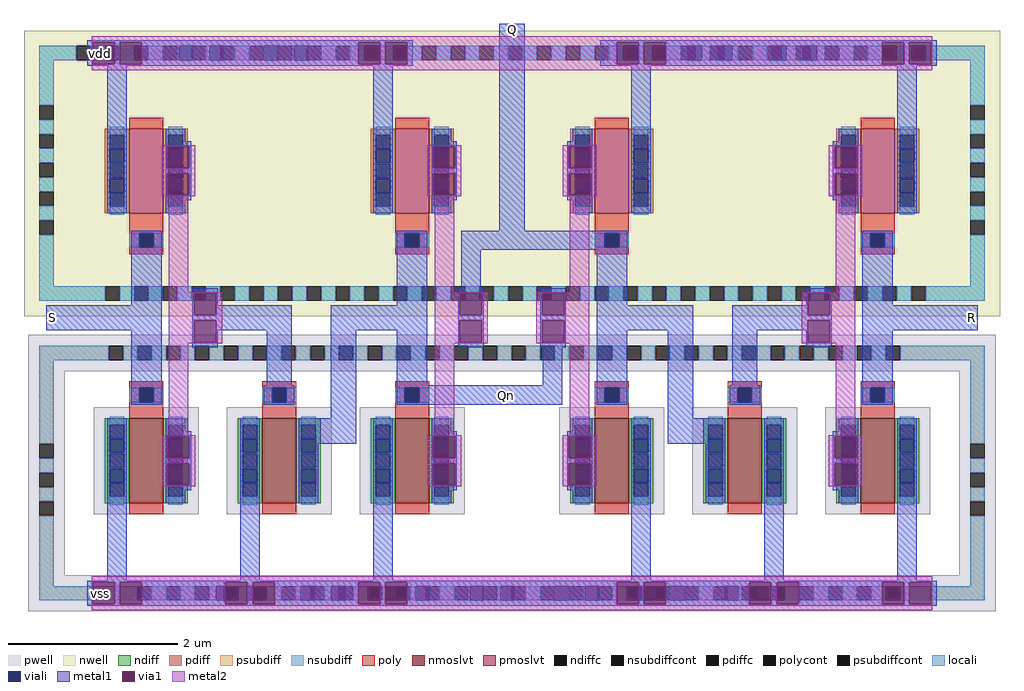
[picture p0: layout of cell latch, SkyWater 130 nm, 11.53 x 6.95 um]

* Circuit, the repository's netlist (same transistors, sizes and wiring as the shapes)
** sch_path: /media/psf/Home/EDA/SAR_IPN/xschem/sar/latch/latch.sch
.subckt latch S R vss vdd Q Qn
.ipin S
.ipin R
.iopin vss
.iopin vdd
.opin Q
.opin Qn
x1 vdd Qn Q vss inv_lvt
x2 vdd Q Qn vss inv_lvt
x3 vdd R net2 vss inv_lvt
x4 vdd S net1 vss inv_lvt
XM4 Q net2 vss vss sky130_fd_pr__nfet_01v8_lvt L=0.4 W=1 nf=1 ad='int((nf+1)/2) * W/nf * 0.29' as='int((nf+2)/2) * W/nf * 0.29'
+ pd='2*int((nf+1)/2) * (W/nf + 0.29)' ps='2*int((nf+2)/2) * (W/nf + 0.29)' nrd='0.29 / W' nrs='0.29 / W'
+ sa=0 sb=0 sd=0 mult=1 m=1
XM1 Qn net1 vss vss sky130_fd_pr__nfet_01v8_lvt L=0.4 W=1 nf=1 ad='int((nf+1)/2) * W/nf * 0.29' as='int((nf+2)/2) * W/nf * 0.29'
+ pd='2*int((nf+1)/2) * (W/nf + 0.29)' ps='2*int((nf+2)/2) * (W/nf + 0.29)' nrd='0.29 / W' nrs='0.29 / W'
+ sa=0 sb=0 sd=0 mult=1 m=1
.ends

* expanding   symbol:  logic/inv_lvt.sym # of pins=4
** sym_path: /media/psf/Home/EDA/SAR_IPN/xschem/logic/inv_lvt.sym
** sch_path: /media/psf/Home/EDA/SAR_IPN/xschem/logic/inv_lvt.sch
.subckt inv_lvt vdd in out vss
*.iopin vdd
*.iopin vss
*.ipin in
*.opin out
XM3 out in vss vss sky130_fd_pr__nfet_01v8_lvt L=0.4 W=1 nf=1 ad='int((nf+1)/2) * W/nf * 0.29' as='int((nf+2)/2) * W/nf * 0.29'
+ pd='2*int((nf+1)/2) * (W/nf + 0.29)' ps='2*int((nf+2)/2) * (W/nf + 0.29)' nrd='0.29 / W' nrs='0.29 / W'
+ sa=0 sb=0 sd=0 mult=1 m=1
XM1 out in vdd vdd sky130_fd_pr__pfet_01v8_lvt L=0.4 W=1 nf=1 ad='int((nf+1)/2) * W/nf * 0.29' as='int((nf+2)/2) * W/nf * 0.29'
+ pd='2*int((nf+1)/2) * (W/nf + 0.29)' ps='2*int((nf+2)/2) * (W/nf + 0.29)' nrd='0.29 / W' nrs='0.29 / W'
+ sa=0 sb=0 sd=0 mult=1 m=1
.ends

.end

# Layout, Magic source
magic
tech sky130B
magscale 1 2
<< nwell >>
rect 0 657 2306 1331
<< pwell >>
rect 10 527 2296 613
rect 10 45 96 527
rect 165 189 413 441
rect 479 189 727 441
rect 793 189 1041 441
rect 1265 189 1513 441
rect 1579 189 1827 441
rect 1893 189 2141 441
rect 2210 45 2296 527
rect 10 -41 2296 45
<< pmoslvt >>
rect 249 900 329 1100
rect 877 900 957 1100
rect 1349 900 1429 1100
rect 1977 900 2057 1100
<< nmoslvt >>
rect 249 215 329 415
rect 563 215 643 415
rect 877 215 957 415
rect 1349 215 1429 415
rect 1663 215 1743 415
rect 1977 215 2057 415
<< ndiff >>
rect 191 400 249 415
rect 191 366 203 400
rect 237 366 249 400
rect 191 332 249 366
rect 191 298 203 332
rect 237 298 249 332
rect 191 264 249 298
rect 191 230 203 264
rect 237 230 249 264
rect 191 215 249 230
rect 329 400 387 415
rect 329 366 341 400
rect 375 366 387 400
rect 329 332 387 366
rect 329 298 341 332
rect 375 298 387 332
rect 329 264 387 298
rect 329 230 341 264
rect 375 230 387 264
rect 329 215 387 230
rect 505 400 563 415
rect 505 366 517 400
rect 551 366 563 400
rect 505 332 563 366
rect 505 298 517 332
rect 551 298 563 332
rect 505 264 563 298
rect 505 230 517 264
rect 551 230 563 264
rect 505 215 563 230
rect 643 400 701 415
rect 643 366 655 400
rect 689 366 701 400
rect 643 332 701 366
rect 643 298 655 332
rect 689 298 701 332
rect 643 264 701 298
rect 643 230 655 264
rect 689 230 701 264
rect 643 215 701 230
rect 819 400 877 415
rect 819 366 831 400
rect 865 366 877 400
rect 819 332 877 366
rect 819 298 831 332
rect 865 298 877 332
rect 819 264 877 298
rect 819 230 831 264
rect 865 230 877 264
rect 819 215 877 230
rect 957 400 1015 415
rect 957 366 969 400
rect 1003 366 1015 400
rect 957 332 1015 366
rect 957 298 969 332
rect 1003 298 1015 332
rect 957 264 1015 298
rect 957 230 969 264
rect 1003 230 1015 264
rect 957 215 1015 230
rect 1291 400 1349 415
rect 1291 366 1303 400
rect 1337 366 1349 400
rect 1291 332 1349 366
rect 1291 298 1303 332
rect 1337 298 1349 332
rect 1291 264 1349 298
rect 1291 230 1303 264
rect 1337 230 1349 264
rect 1291 215 1349 230
rect 1429 400 1487 415
rect 1429 366 1441 400
rect 1475 366 1487 400
rect 1429 332 1487 366
rect 1429 298 1441 332
rect 1475 298 1487 332
rect 1429 264 1487 298
rect 1429 230 1441 264
rect 1475 230 1487 264
rect 1429 215 1487 230
rect 1605 400 1663 415
rect 1605 366 1617 400
rect 1651 366 1663 400
rect 1605 332 1663 366
rect 1605 298 1617 332
rect 1651 298 1663 332
rect 1605 264 1663 298
rect 1605 230 1617 264
rect 1651 230 1663 264
rect 1605 215 1663 230
rect 1743 400 1801 415
rect 1743 366 1755 400
rect 1789 366 1801 400
rect 1743 332 1801 366
rect 1743 298 1755 332
rect 1789 298 1801 332
rect 1743 264 1801 298
rect 1743 230 1755 264
rect 1789 230 1801 264
rect 1743 215 1801 230
rect 1919 400 1977 415
rect 1919 366 1931 400
rect 1965 366 1977 400
rect 1919 332 1977 366
rect 1919 298 1931 332
rect 1965 298 1977 332
rect 1919 264 1977 298
rect 1919 230 1931 264
rect 1965 230 1977 264
rect 1919 215 1977 230
rect 2057 400 2115 415
rect 2057 366 2069 400
rect 2103 366 2115 400
rect 2057 332 2115 366
rect 2057 298 2069 332
rect 2103 298 2115 332
rect 2057 264 2115 298
rect 2057 230 2069 264
rect 2103 230 2115 264
rect 2057 215 2115 230
<< pdiff >>
rect 191 1085 249 1100
rect 191 1051 203 1085
rect 237 1051 249 1085
rect 191 1017 249 1051
rect 191 983 203 1017
rect 237 983 249 1017
rect 191 949 249 983
rect 191 915 203 949
rect 237 915 249 949
rect 191 900 249 915
rect 329 1085 387 1100
rect 329 1051 341 1085
rect 375 1051 387 1085
rect 329 1017 387 1051
rect 329 983 341 1017
rect 375 983 387 1017
rect 329 949 387 983
rect 329 915 341 949
rect 375 915 387 949
rect 329 900 387 915
rect 819 1085 877 1100
rect 819 1051 831 1085
rect 865 1051 877 1085
rect 819 1017 877 1051
rect 819 983 831 1017
rect 865 983 877 1017
rect 819 949 877 983
rect 819 915 831 949
rect 865 915 877 949
rect 819 900 877 915
rect 957 1085 1015 1100
rect 957 1051 969 1085
rect 1003 1051 1015 1085
rect 957 1017 1015 1051
rect 957 983 969 1017
rect 1003 983 1015 1017
rect 957 949 1015 983
rect 957 915 969 949
rect 1003 915 1015 949
rect 957 900 1015 915
rect 1291 1085 1349 1100
rect 1291 1051 1303 1085
rect 1337 1051 1349 1085
rect 1291 1017 1349 1051
rect 1291 983 1303 1017
rect 1337 983 1349 1017
rect 1291 949 1349 983
rect 1291 915 1303 949
rect 1337 915 1349 949
rect 1291 900 1349 915
rect 1429 1085 1487 1100
rect 1429 1051 1441 1085
rect 1475 1051 1487 1085
rect 1429 1017 1487 1051
rect 1429 983 1441 1017
rect 1475 983 1487 1017
rect 1429 949 1487 983
rect 1429 915 1441 949
rect 1475 915 1487 949
rect 1429 900 1487 915
rect 1919 1085 1977 1100
rect 1919 1051 1931 1085
rect 1965 1051 1977 1085
rect 1919 1017 1977 1051
rect 1919 983 1931 1017
rect 1965 983 1977 1017
rect 1919 949 1977 983
rect 1919 915 1931 949
rect 1965 915 1977 949
rect 1919 900 1977 915
rect 2057 1085 2115 1100
rect 2057 1051 2069 1085
rect 2103 1051 2115 1085
rect 2057 1017 2115 1051
rect 2057 983 2069 1017
rect 2103 983 2115 1017
rect 2057 949 2115 983
rect 2057 915 2069 949
rect 2103 915 2115 949
rect 2057 900 2115 915
<< ndiffc >>
rect 203 366 237 400
rect 203 298 237 332
rect 203 230 237 264
rect 341 366 375 400
rect 341 298 375 332
rect 341 230 375 264
rect 517 366 551 400
rect 517 298 551 332
rect 517 230 551 264
rect 655 366 689 400
rect 655 298 689 332
rect 655 230 689 264
rect 831 366 865 400
rect 831 298 865 332
rect 831 230 865 264
rect 969 366 1003 400
rect 969 298 1003 332
rect 969 230 1003 264
rect 1303 366 1337 400
rect 1303 298 1337 332
rect 1303 230 1337 264
rect 1441 366 1475 400
rect 1441 298 1475 332
rect 1441 230 1475 264
rect 1617 366 1651 400
rect 1617 298 1651 332
rect 1617 230 1651 264
rect 1755 366 1789 400
rect 1755 298 1789 332
rect 1755 230 1789 264
rect 1931 366 1965 400
rect 1931 298 1965 332
rect 1931 230 1965 264
rect 2069 366 2103 400
rect 2069 298 2103 332
rect 2069 230 2103 264
<< pdiffc >>
rect 203 1051 237 1085
rect 203 983 237 1017
rect 203 915 237 949
rect 341 1051 375 1085
rect 341 983 375 1017
rect 341 915 375 949
rect 831 1051 865 1085
rect 831 983 865 1017
rect 831 915 865 949
rect 969 1051 1003 1085
rect 969 983 1003 1017
rect 969 915 1003 949
rect 1303 1051 1337 1085
rect 1303 983 1337 1017
rect 1303 915 1337 949
rect 1441 1051 1475 1085
rect 1441 983 1475 1017
rect 1441 915 1475 949
rect 1931 1051 1965 1085
rect 1931 983 1965 1017
rect 1931 915 1965 949
rect 2069 1051 2103 1085
rect 2069 983 2103 1017
rect 2069 915 2103 949
<< psubdiff >>
rect 36 553 200 587
rect 234 553 268 587
rect 302 553 336 587
rect 370 553 404 587
rect 438 553 472 587
rect 506 553 540 587
rect 574 553 608 587
rect 642 553 676 587
rect 710 553 744 587
rect 778 553 812 587
rect 846 553 880 587
rect 914 553 948 587
rect 982 553 1016 587
rect 1050 553 1084 587
rect 1118 553 1152 587
rect 1186 553 1220 587
rect 1254 553 1288 587
rect 1322 553 1356 587
rect 1390 553 1424 587
rect 1458 553 1492 587
rect 1526 553 1560 587
rect 1594 553 1628 587
rect 1662 553 1696 587
rect 1730 553 1764 587
rect 1798 553 1832 587
rect 1866 553 1900 587
rect 1934 553 1968 587
rect 2002 553 2036 587
rect 2070 553 2270 587
rect 36 355 70 553
rect 36 287 70 321
rect 36 219 70 253
rect 2236 355 2270 553
rect 2236 287 2270 321
rect 2236 219 2270 253
rect 36 19 70 185
rect 2236 19 2270 185
rect 36 -15 268 19
rect 302 -15 336 19
rect 370 -15 404 19
rect 438 -15 472 19
rect 506 -15 540 19
rect 574 -15 608 19
rect 642 -15 676 19
rect 710 -15 744 19
rect 778 -15 812 19
rect 846 -15 880 19
rect 914 -15 948 19
rect 982 -15 1016 19
rect 1050 -15 1084 19
rect 1118 -15 1152 19
rect 1186 -15 1220 19
rect 1254 -15 1288 19
rect 1322 -15 1356 19
rect 1390 -15 1424 19
rect 1458 -15 1492 19
rect 1526 -15 1560 19
rect 1594 -15 1628 19
rect 1662 -15 1696 19
rect 1730 -15 1764 19
rect 1798 -15 1832 19
rect 1866 -15 1900 19
rect 1934 -15 1968 19
rect 2002 -15 2036 19
rect 2070 -15 2270 19
<< nsubdiff >>
rect 36 1261 124 1295
rect 158 1261 192 1295
rect 226 1261 260 1295
rect 294 1261 328 1295
rect 362 1261 396 1295
rect 430 1261 464 1295
rect 498 1261 532 1295
rect 566 1261 600 1295
rect 634 1261 668 1295
rect 702 1261 736 1295
rect 770 1261 804 1295
rect 838 1261 872 1295
rect 906 1261 940 1295
rect 974 1261 1008 1295
rect 1042 1261 1076 1295
rect 1110 1261 1144 1295
rect 1178 1261 1212 1295
rect 1246 1261 1280 1295
rect 1314 1261 1348 1295
rect 1382 1261 1416 1295
rect 1450 1261 1484 1295
rect 1518 1261 1552 1295
rect 1586 1261 1620 1295
rect 1654 1261 1688 1295
rect 1722 1261 1756 1295
rect 1790 1261 1824 1295
rect 1858 1261 1892 1295
rect 1926 1261 1960 1295
rect 1994 1261 2028 1295
rect 2062 1261 2096 1295
rect 2130 1261 2270 1295
rect 36 1155 70 1261
rect 2236 1155 2270 1261
rect 36 1087 70 1121
rect 36 1019 70 1053
rect 36 951 70 985
rect 36 883 70 917
rect 2236 1087 2270 1121
rect 2236 1019 2270 1053
rect 2236 951 2270 985
rect 36 727 70 849
rect 2236 883 2270 917
rect 2236 727 2270 849
rect 36 693 192 727
rect 226 693 260 727
rect 294 693 328 727
rect 362 693 396 727
rect 430 693 464 727
rect 498 693 532 727
rect 566 693 600 727
rect 634 693 668 727
rect 702 693 736 727
rect 770 693 804 727
rect 838 693 872 727
rect 906 693 940 727
rect 974 693 1008 727
rect 1042 693 1076 727
rect 1110 693 1144 727
rect 1178 693 1212 727
rect 1246 693 1280 727
rect 1314 693 1348 727
rect 1382 693 1416 727
rect 1450 693 1484 727
rect 1518 693 1552 727
rect 1586 693 1620 727
rect 1654 693 1688 727
rect 1722 693 1756 727
rect 1790 693 1824 727
rect 1858 693 1892 727
rect 1926 693 1960 727
rect 1994 693 2028 727
rect 2062 693 2096 727
rect 2130 693 2270 727
<< psubdiffcont >>
rect 200 553 234 587
rect 268 553 302 587
rect 336 553 370 587
rect 404 553 438 587
rect 472 553 506 587
rect 540 553 574 587
rect 608 553 642 587
rect 676 553 710 587
rect 744 553 778 587
rect 812 553 846 587
rect 880 553 914 587
rect 948 553 982 587
rect 1016 553 1050 587
rect 1084 553 1118 587
rect 1152 553 1186 587
rect 1220 553 1254 587
rect 1288 553 1322 587
rect 1356 553 1390 587
rect 1424 553 1458 587
rect 1492 553 1526 587
rect 1560 553 1594 587
rect 1628 553 1662 587
rect 1696 553 1730 587
rect 1764 553 1798 587
rect 1832 553 1866 587
rect 1900 553 1934 587
rect 1968 553 2002 587
rect 2036 553 2070 587
rect 36 321 70 355
rect 36 253 70 287
rect 36 185 70 219
rect 2236 321 2270 355
rect 2236 253 2270 287
rect 2236 185 2270 219
rect 268 -15 302 19
rect 336 -15 370 19
rect 404 -15 438 19
rect 472 -15 506 19
rect 540 -15 574 19
rect 608 -15 642 19
rect 676 -15 710 19
rect 744 -15 778 19
rect 812 -15 846 19
rect 880 -15 914 19
rect 948 -15 982 19
rect 1016 -15 1050 19
rect 1084 -15 1118 19
rect 1152 -15 1186 19
rect 1220 -15 1254 19
rect 1288 -15 1322 19
rect 1356 -15 1390 19
rect 1424 -15 1458 19
rect 1492 -15 1526 19
rect 1560 -15 1594 19
rect 1628 -15 1662 19
rect 1696 -15 1730 19
rect 1764 -15 1798 19
rect 1832 -15 1866 19
rect 1900 -15 1934 19
rect 1968 -15 2002 19
rect 2036 -15 2070 19
<< nsubdiffcont >>
rect 124 1261 158 1295
rect 192 1261 226 1295
rect 260 1261 294 1295
rect 328 1261 362 1295
rect 396 1261 430 1295
rect 464 1261 498 1295
rect 532 1261 566 1295
rect 600 1261 634 1295
rect 668 1261 702 1295
rect 736 1261 770 1295
rect 804 1261 838 1295
rect 872 1261 906 1295
rect 940 1261 974 1295
rect 1008 1261 1042 1295
rect 1076 1261 1110 1295
rect 1144 1261 1178 1295
rect 1212 1261 1246 1295
rect 1280 1261 1314 1295
rect 1348 1261 1382 1295
rect 1416 1261 1450 1295
rect 1484 1261 1518 1295
rect 1552 1261 1586 1295
rect 1620 1261 1654 1295
rect 1688 1261 1722 1295
rect 1756 1261 1790 1295
rect 1824 1261 1858 1295
rect 1892 1261 1926 1295
rect 1960 1261 1994 1295
rect 2028 1261 2062 1295
rect 2096 1261 2130 1295
rect 36 1121 70 1155
rect 2236 1121 2270 1155
rect 36 1053 70 1087
rect 36 985 70 1019
rect 36 917 70 951
rect 2236 1053 2270 1087
rect 2236 985 2270 1019
rect 2236 917 2270 951
rect 36 849 70 883
rect 2236 849 2270 883
rect 192 693 226 727
rect 260 693 294 727
rect 328 693 362 727
rect 396 693 430 727
rect 464 693 498 727
rect 532 693 566 727
rect 600 693 634 727
rect 668 693 702 727
rect 736 693 770 727
rect 804 693 838 727
rect 872 693 906 727
rect 940 693 974 727
rect 1008 693 1042 727
rect 1076 693 1110 727
rect 1144 693 1178 727
rect 1212 693 1246 727
rect 1280 693 1314 727
rect 1348 693 1382 727
rect 1416 693 1450 727
rect 1484 693 1518 727
rect 1552 693 1586 727
rect 1620 693 1654 727
rect 1688 693 1722 727
rect 1756 693 1790 727
rect 1824 693 1858 727
rect 1892 693 1926 727
rect 1960 693 1994 727
rect 2028 693 2062 727
rect 2096 693 2130 727
<< poly >>
rect 249 1100 329 1126
rect 877 1100 957 1126
rect 1349 1100 1429 1126
rect 1977 1100 2057 1126
rect 249 853 329 900
rect 249 819 272 853
rect 306 819 329 853
rect 249 803 329 819
rect 877 853 957 900
rect 877 819 900 853
rect 934 819 957 853
rect 877 803 957 819
rect 1349 853 1429 900
rect 1349 819 1372 853
rect 1406 819 1429 853
rect 1349 803 1429 819
rect 1977 853 2057 900
rect 1977 819 2000 853
rect 2034 819 2057 853
rect 1977 803 2057 819
rect 249 487 329 503
rect 249 453 272 487
rect 306 453 329 487
rect 249 415 329 453
rect 563 487 643 503
rect 563 453 586 487
rect 620 453 643 487
rect 563 415 643 453
rect 877 487 957 503
rect 877 453 900 487
rect 934 453 957 487
rect 877 415 957 453
rect 1349 487 1429 503
rect 1349 453 1372 487
rect 1406 453 1429 487
rect 1349 415 1429 453
rect 1663 487 1743 503
rect 1663 453 1686 487
rect 1720 453 1743 487
rect 1663 415 1743 453
rect 1977 487 2057 503
rect 1977 453 2000 487
rect 2034 453 2057 487
rect 1977 415 2057 453
rect 249 189 329 215
rect 563 189 643 215
rect 877 189 957 215
rect 1349 189 1429 215
rect 1663 189 1743 215
rect 1977 189 2057 215
<< polycont >>
rect 272 819 306 853
rect 900 819 934 853
rect 1372 819 1406 853
rect 2000 819 2034 853
rect 272 453 306 487
rect 586 453 620 487
rect 900 453 934 487
rect 1372 453 1406 487
rect 1686 453 1720 487
rect 2000 453 2034 487
<< locali >>
rect 36 1261 124 1295
rect 158 1261 192 1295
rect 226 1261 260 1295
rect 294 1261 328 1295
rect 362 1261 367 1295
rect 430 1261 439 1295
rect 498 1261 532 1295
rect 566 1261 567 1295
rect 634 1261 639 1295
rect 702 1261 736 1295
rect 770 1261 804 1295
rect 838 1261 872 1295
rect 906 1261 940 1295
rect 974 1261 1008 1295
rect 1042 1261 1076 1295
rect 1110 1261 1144 1295
rect 1178 1261 1212 1295
rect 1246 1261 1280 1295
rect 1314 1261 1348 1295
rect 1382 1261 1416 1295
rect 1450 1261 1484 1295
rect 1518 1261 1552 1295
rect 1601 1261 1620 1295
rect 1673 1261 1688 1295
rect 1722 1261 1756 1295
rect 1801 1261 1824 1295
rect 1873 1261 1892 1295
rect 1926 1261 1960 1295
rect 1994 1261 2028 1295
rect 2062 1261 2096 1295
rect 2130 1261 2270 1295
rect 36 1155 70 1261
rect 36 1087 70 1121
rect 2236 1155 2270 1261
rect 36 1019 70 1053
rect 36 951 70 985
rect 36 883 70 917
rect 203 1085 237 1104
rect 203 1017 237 1019
rect 203 981 237 983
rect 203 896 237 915
rect 341 1085 375 1104
rect 341 1017 375 1019
rect 341 981 375 983
rect 341 896 375 915
rect 831 1085 865 1104
rect 831 1017 865 1019
rect 831 981 865 983
rect 831 896 865 915
rect 969 1085 1003 1104
rect 969 1017 1003 1019
rect 969 981 1003 983
rect 969 896 1003 915
rect 1303 1085 1337 1104
rect 1303 1017 1337 1019
rect 1303 981 1337 983
rect 1303 896 1337 915
rect 1441 1085 1475 1104
rect 1441 1017 1475 1019
rect 1441 981 1475 983
rect 1441 896 1475 915
rect 1931 1085 1965 1104
rect 1931 1017 1965 1019
rect 1931 981 1965 983
rect 1931 896 1965 915
rect 2069 1085 2103 1104
rect 2069 1017 2103 1019
rect 2069 981 2103 983
rect 2069 896 2103 915
rect 2236 1087 2270 1121
rect 2236 1019 2270 1053
rect 2236 951 2270 985
rect 2236 883 2270 917
rect 36 727 70 849
rect 249 819 272 853
rect 306 819 329 853
rect 877 819 900 853
rect 934 819 957 853
rect 1349 819 1372 853
rect 1406 819 1429 853
rect 1977 819 2000 853
rect 2034 819 2057 853
rect 2236 727 2270 849
rect 36 693 192 727
rect 226 693 260 727
rect 294 693 328 727
rect 362 693 396 727
rect 430 693 464 727
rect 498 693 532 727
rect 566 693 600 727
rect 634 693 668 727
rect 702 693 736 727
rect 770 693 804 727
rect 838 693 872 727
rect 906 693 940 727
rect 974 693 1008 727
rect 1042 693 1076 727
rect 1110 693 1144 727
rect 1178 693 1212 727
rect 1246 693 1280 727
rect 1314 693 1348 727
rect 1382 693 1416 727
rect 1450 693 1484 727
rect 1518 693 1552 727
rect 1586 693 1620 727
rect 1654 693 1688 727
rect 1722 693 1756 727
rect 1790 693 1824 727
rect 1858 693 1892 727
rect 1926 693 1960 727
rect 1994 693 2028 727
rect 2062 693 2096 727
rect 2130 693 2270 727
rect 36 553 200 587
rect 234 553 268 587
rect 302 553 336 587
rect 370 553 404 587
rect 438 553 472 587
rect 506 553 540 587
rect 574 553 608 587
rect 642 553 676 587
rect 710 553 744 587
rect 778 553 812 587
rect 846 553 880 587
rect 914 553 948 587
rect 982 553 1016 587
rect 1050 553 1084 587
rect 1118 553 1152 587
rect 1186 553 1220 587
rect 1254 553 1288 587
rect 1322 553 1356 587
rect 1390 553 1424 587
rect 1458 553 1492 587
rect 1526 553 1560 587
rect 1594 553 1628 587
rect 1662 553 1696 587
rect 1730 553 1764 587
rect 1798 553 1832 587
rect 1866 553 1900 587
rect 1934 553 1968 587
rect 2002 553 2036 587
rect 2070 553 2270 587
rect 36 355 70 553
rect 249 453 272 487
rect 306 453 329 487
rect 563 453 586 487
rect 620 453 643 487
rect 877 453 900 487
rect 934 453 957 487
rect 1349 453 1372 487
rect 1406 453 1429 487
rect 1663 453 1686 487
rect 1720 453 1743 487
rect 1977 453 2000 487
rect 2034 453 2057 487
rect 36 287 70 321
rect 36 219 70 253
rect 203 400 237 419
rect 203 332 237 334
rect 203 296 237 298
rect 203 211 237 230
rect 341 400 375 419
rect 341 332 375 334
rect 341 296 375 298
rect 341 211 375 230
rect 517 400 551 419
rect 517 332 551 334
rect 517 296 551 298
rect 517 211 551 230
rect 655 400 689 419
rect 655 332 689 334
rect 655 296 689 298
rect 655 211 689 230
rect 831 400 865 419
rect 831 332 865 334
rect 831 296 865 298
rect 831 211 865 230
rect 969 400 1003 419
rect 969 332 1003 334
rect 969 296 1003 298
rect 969 211 1003 230
rect 1303 400 1337 419
rect 1303 332 1337 334
rect 1303 296 1337 298
rect 1303 211 1337 230
rect 1441 400 1475 419
rect 1441 332 1475 334
rect 1441 296 1475 298
rect 1441 211 1475 230
rect 1617 400 1651 419
rect 1617 332 1651 334
rect 1617 296 1651 298
rect 1617 211 1651 230
rect 1755 400 1789 419
rect 1755 332 1789 334
rect 1755 296 1789 298
rect 1755 211 1789 230
rect 1931 400 1965 419
rect 1931 332 1965 334
rect 1931 296 1965 298
rect 1931 211 1965 230
rect 2069 400 2103 419
rect 2069 332 2103 334
rect 2069 296 2103 298
rect 2069 211 2103 230
rect 2236 355 2270 553
rect 2236 287 2270 321
rect 2236 219 2270 253
rect 36 19 70 185
rect 2236 19 2270 185
rect 36 -15 268 19
rect 302 -15 336 19
rect 370 -15 404 19
rect 438 -15 454 19
rect 506 -15 526 19
rect 574 -15 608 19
rect 642 -15 654 19
rect 710 -15 726 19
rect 778 -15 812 19
rect 846 -15 854 19
rect 914 -15 926 19
rect 982 -15 1016 19
rect 1050 -15 1054 19
rect 1118 -15 1126 19
rect 1186 -15 1220 19
rect 1322 -15 1326 19
rect 1390 -15 1424 19
rect 1488 -15 1492 19
rect 1594 -15 1628 19
rect 1688 -15 1696 19
rect 1760 -15 1764 19
rect 1798 -15 1832 19
rect 1866 -15 1900 19
rect 1934 -15 1968 19
rect 2002 -15 2036 19
rect 2070 -15 2270 19
<< viali >>
rect 367 1261 396 1295
rect 396 1261 401 1295
rect 439 1261 464 1295
rect 464 1261 473 1295
rect 567 1261 600 1295
rect 600 1261 601 1295
rect 639 1261 668 1295
rect 668 1261 673 1295
rect 1567 1261 1586 1295
rect 1586 1261 1601 1295
rect 1639 1261 1654 1295
rect 1654 1261 1673 1295
rect 1767 1261 1790 1295
rect 1790 1261 1801 1295
rect 1839 1261 1858 1295
rect 1858 1261 1873 1295
rect 203 1051 237 1053
rect 203 1019 237 1051
rect 203 949 237 981
rect 203 947 237 949
rect 341 1051 375 1053
rect 341 1019 375 1051
rect 341 949 375 981
rect 341 947 375 949
rect 831 1051 865 1053
rect 831 1019 865 1051
rect 831 949 865 981
rect 831 947 865 949
rect 969 1051 1003 1053
rect 969 1019 1003 1051
rect 969 949 1003 981
rect 969 947 1003 949
rect 1303 1051 1337 1053
rect 1303 1019 1337 1051
rect 1303 949 1337 981
rect 1303 947 1337 949
rect 1441 1051 1475 1053
rect 1441 1019 1475 1051
rect 1441 949 1475 981
rect 1441 947 1475 949
rect 1931 1051 1965 1053
rect 1931 1019 1965 1051
rect 1931 949 1965 981
rect 1931 947 1965 949
rect 2069 1051 2103 1053
rect 2069 1019 2103 1051
rect 2069 949 2103 981
rect 2069 947 2103 949
rect 272 819 306 853
rect 900 819 934 853
rect 1372 819 1406 853
rect 2000 819 2034 853
rect 272 453 306 487
rect 586 453 620 487
rect 900 453 934 487
rect 1372 453 1406 487
rect 1686 453 1720 487
rect 2000 453 2034 487
rect 203 366 237 368
rect 203 334 237 366
rect 203 264 237 296
rect 203 262 237 264
rect 341 366 375 368
rect 341 334 375 366
rect 341 264 375 296
rect 341 262 375 264
rect 517 366 551 368
rect 517 334 551 366
rect 517 264 551 296
rect 517 262 551 264
rect 655 366 689 368
rect 655 334 689 366
rect 655 264 689 296
rect 655 262 689 264
rect 831 366 865 368
rect 831 334 865 366
rect 831 264 865 296
rect 831 262 865 264
rect 969 366 1003 368
rect 969 334 1003 366
rect 969 264 1003 296
rect 969 262 1003 264
rect 1303 366 1337 368
rect 1303 334 1337 366
rect 1303 264 1337 296
rect 1303 262 1337 264
rect 1441 366 1475 368
rect 1441 334 1475 366
rect 1441 264 1475 296
rect 1441 262 1475 264
rect 1617 366 1651 368
rect 1617 334 1651 366
rect 1617 264 1651 296
rect 1617 262 1651 264
rect 1755 366 1789 368
rect 1755 334 1789 366
rect 1755 264 1789 296
rect 1755 262 1789 264
rect 1931 366 1965 368
rect 1931 334 1965 366
rect 1931 264 1965 296
rect 1931 262 1965 264
rect 2069 366 2103 368
rect 2069 334 2103 366
rect 2069 264 2103 296
rect 2069 262 2103 264
rect 454 -15 472 19
rect 472 -15 488 19
rect 526 -15 540 19
rect 540 -15 560 19
rect 654 -15 676 19
rect 676 -15 688 19
rect 726 -15 744 19
rect 744 -15 760 19
rect 854 -15 880 19
rect 880 -15 888 19
rect 926 -15 948 19
rect 948 -15 960 19
rect 1054 -15 1084 19
rect 1084 -15 1088 19
rect 1126 -15 1152 19
rect 1152 -15 1160 19
rect 1254 -15 1288 19
rect 1326 -15 1356 19
rect 1356 -15 1360 19
rect 1454 -15 1458 19
rect 1458 -15 1488 19
rect 1526 -15 1560 19
rect 1654 -15 1662 19
rect 1662 -15 1688 19
rect 1726 -15 1730 19
rect 1730 -15 1760 19
<< metal1 >>
rect 150 1304 918 1308
rect 150 1252 162 1304
rect 214 1252 226 1304
rect 278 1295 790 1304
rect 278 1261 367 1295
rect 401 1261 439 1295
rect 473 1261 567 1295
rect 601 1261 639 1295
rect 673 1261 790 1295
rect 278 1252 790 1261
rect 842 1252 854 1304
rect 906 1252 918 1304
rect 150 1248 918 1252
rect 197 1053 243 1248
rect 197 1019 203 1053
rect 237 1019 243 1053
rect 197 981 243 1019
rect 197 947 203 981
rect 237 947 243 981
rect 197 900 243 947
rect 335 1070 381 1100
rect 335 1058 395 1070
rect 335 1006 339 1058
rect 391 1006 395 1058
rect 335 994 395 1006
rect 335 942 339 994
rect 391 942 395 994
rect 335 930 395 942
rect 825 1053 871 1248
rect 825 1019 831 1053
rect 865 1019 871 1053
rect 825 981 871 1019
rect 825 947 831 981
rect 865 947 871 981
rect 335 900 381 930
rect 825 900 871 947
rect 963 1070 1009 1100
rect 963 1058 1023 1070
rect 963 1006 967 1058
rect 1019 1006 1023 1058
rect 963 994 1023 1006
rect 963 942 967 994
rect 1019 942 1023 994
rect 963 930 1023 942
rect 963 900 1009 930
rect 1123 859 1183 1348
rect 1361 1304 2156 1308
rect 1361 1252 1400 1304
rect 1452 1252 1464 1304
rect 1516 1295 2028 1304
rect 1516 1261 1567 1295
rect 1601 1261 1639 1295
rect 1673 1261 1767 1295
rect 1801 1261 1839 1295
rect 1873 1261 2028 1295
rect 1516 1252 2028 1261
rect 2080 1252 2092 1304
rect 2144 1252 2156 1304
rect 1361 1248 2156 1252
rect 1297 1070 1343 1100
rect 1283 1058 1343 1070
rect 1283 1006 1287 1058
rect 1339 1006 1343 1058
rect 1283 994 1343 1006
rect 1283 942 1287 994
rect 1339 942 1343 994
rect 1283 930 1343 942
rect 1297 900 1343 930
rect 1435 1053 1481 1248
rect 1925 1070 1971 1100
rect 1435 1019 1441 1053
rect 1475 1019 1481 1053
rect 1435 981 1481 1019
rect 1435 947 1441 981
rect 1475 947 1481 981
rect 1435 900 1481 947
rect 1911 1058 1971 1070
rect 1911 1006 1915 1058
rect 1967 1006 1971 1058
rect 1911 994 1971 1006
rect 1911 942 1915 994
rect 1967 942 1971 994
rect 1911 930 1971 942
rect 1925 900 1971 930
rect 2063 1053 2109 1248
rect 2063 1019 2069 1053
rect 2103 1019 2109 1053
rect 2063 981 2109 1019
rect 2063 947 2069 981
rect 2103 947 2109 981
rect 2063 900 2109 947
rect 253 853 325 859
rect 253 819 272 853
rect 306 819 325 853
rect 253 683 325 819
rect 881 853 953 859
rect 881 819 900 853
rect 934 819 953 853
rect 53 623 325 683
rect 253 487 325 623
rect 398 711 458 723
rect 398 659 402 711
rect 454 683 458 711
rect 881 683 953 819
rect 1033 853 1425 859
rect 1033 819 1372 853
rect 1406 819 1425 853
rect 1033 813 1425 819
rect 1033 723 1079 813
rect 454 659 633 683
rect 398 647 633 659
rect 398 595 402 647
rect 454 623 633 647
rect 454 595 458 623
rect 398 583 458 595
rect 573 493 633 623
rect 725 623 953 683
rect 253 453 272 487
rect 306 453 325 487
rect 253 447 325 453
rect 567 487 639 493
rect 567 453 586 487
rect 620 453 639 487
rect 567 447 639 453
rect 725 415 785 623
rect 881 493 953 623
rect 1026 711 1086 723
rect 1026 659 1030 711
rect 1082 659 1086 711
rect 1026 647 1086 659
rect 1026 595 1030 647
rect 1082 595 1086 647
rect 1026 583 1086 595
rect 1220 711 1280 723
rect 1220 659 1224 711
rect 1276 659 1280 711
rect 1220 647 1280 659
rect 1220 595 1224 647
rect 1276 595 1280 647
rect 1220 583 1280 595
rect 1353 683 1425 813
rect 1981 853 2053 859
rect 1981 819 2000 853
rect 2034 819 2053 853
rect 1848 711 1908 723
rect 1848 683 1852 711
rect 1353 623 1581 683
rect 1226 493 1272 583
rect 881 487 1272 493
rect 881 453 900 487
rect 934 453 1272 487
rect 881 447 1272 453
rect 1353 487 1425 623
rect 1353 453 1372 487
rect 1406 453 1425 487
rect 1353 447 1425 453
rect 1521 415 1581 623
rect 1673 659 1852 683
rect 1904 659 1908 711
rect 1673 647 1908 659
rect 1673 623 1852 647
rect 1673 493 1733 623
rect 1848 595 1852 623
rect 1904 595 1908 647
rect 1848 583 1908 595
rect 1981 683 2053 819
rect 1981 623 2253 683
rect 1667 487 1739 493
rect 1667 453 1686 487
rect 1720 453 1739 487
rect 1667 447 1739 453
rect 1981 487 2053 623
rect 1981 453 2000 487
rect 2034 453 2053 487
rect 1981 447 2053 453
rect 197 368 243 415
rect 197 334 203 368
rect 237 334 243 368
rect 197 296 243 334
rect 197 262 203 296
rect 237 262 243 296
rect 197 32 243 262
rect 335 385 381 415
rect 335 373 395 385
rect 335 321 339 373
rect 391 321 395 373
rect 335 309 395 321
rect 335 257 339 309
rect 391 257 395 309
rect 335 245 395 257
rect 511 368 557 415
rect 511 334 517 368
rect 551 334 557 368
rect 511 296 557 334
rect 511 262 517 296
rect 551 262 557 296
rect 335 215 381 245
rect 511 32 557 262
rect 649 368 785 415
rect 649 334 655 368
rect 689 355 785 368
rect 825 368 871 415
rect 689 334 695 355
rect 649 296 695 334
rect 649 262 655 296
rect 689 262 695 296
rect 649 215 695 262
rect 825 334 831 368
rect 865 334 871 368
rect 825 296 871 334
rect 825 262 831 296
rect 865 262 871 296
rect 825 32 871 262
rect 963 385 1009 415
rect 1297 385 1343 415
rect 963 373 1023 385
rect 963 321 967 373
rect 1019 321 1023 373
rect 963 309 1023 321
rect 963 257 967 309
rect 1019 257 1023 309
rect 963 245 1023 257
rect 1283 373 1343 385
rect 1283 321 1287 373
rect 1339 321 1343 373
rect 1283 309 1343 321
rect 1283 257 1287 309
rect 1339 257 1343 309
rect 1283 245 1343 257
rect 963 215 1009 245
rect 1297 215 1343 245
rect 1435 368 1481 415
rect 1435 334 1441 368
rect 1475 334 1481 368
rect 1521 368 1657 415
rect 1521 355 1617 368
rect 1435 296 1481 334
rect 1435 262 1441 296
rect 1475 262 1481 296
rect 1435 32 1481 262
rect 1611 334 1617 355
rect 1651 334 1657 368
rect 1611 296 1657 334
rect 1611 262 1617 296
rect 1651 262 1657 296
rect 1611 215 1657 262
rect 1749 368 1795 415
rect 1925 385 1971 415
rect 1749 334 1755 368
rect 1789 334 1795 368
rect 1749 296 1795 334
rect 1749 262 1755 296
rect 1789 262 1795 296
rect 1749 32 1795 262
rect 1911 373 1971 385
rect 1911 321 1915 373
rect 1967 321 1971 373
rect 1911 309 1971 321
rect 1911 257 1915 309
rect 1967 257 1971 309
rect 1911 245 1971 257
rect 1925 215 1971 245
rect 2063 368 2109 415
rect 2063 334 2069 368
rect 2103 334 2109 368
rect 2063 296 2109 334
rect 2063 262 2069 296
rect 2103 262 2109 296
rect 2063 32 2109 262
rect 150 28 2156 32
rect 150 -24 162 28
rect 214 -24 226 28
rect 278 19 476 28
rect 528 19 540 28
rect 592 19 790 28
rect 278 -15 454 19
rect 592 -15 654 19
rect 688 -15 726 19
rect 760 -15 790 19
rect 278 -24 476 -15
rect 528 -24 540 -15
rect 592 -24 790 -15
rect 842 -24 854 28
rect 906 19 1400 28
rect 906 -15 926 19
rect 960 -15 1054 19
rect 1088 -15 1126 19
rect 1160 -15 1254 19
rect 1288 -15 1326 19
rect 1360 -15 1400 19
rect 906 -24 1400 -15
rect 1452 19 1464 28
rect 1516 19 1714 28
rect 1452 -15 1454 19
rect 1516 -15 1526 19
rect 1560 -15 1654 19
rect 1688 -15 1714 19
rect 1452 -24 1464 -15
rect 1516 -24 1714 -15
rect 1766 -24 1778 28
rect 1830 -24 2028 28
rect 2080 -24 2092 28
rect 2144 -24 2156 28
rect 150 -28 2156 -24
<< via1 >>
rect 162 1252 214 1304
rect 226 1252 278 1304
rect 790 1252 842 1304
rect 854 1252 906 1304
rect 339 1053 391 1058
rect 339 1019 341 1053
rect 341 1019 375 1053
rect 375 1019 391 1053
rect 339 1006 391 1019
rect 339 981 391 994
rect 339 947 341 981
rect 341 947 375 981
rect 375 947 391 981
rect 339 942 391 947
rect 967 1053 1019 1058
rect 967 1019 969 1053
rect 969 1019 1003 1053
rect 1003 1019 1019 1053
rect 967 1006 1019 1019
rect 967 981 1019 994
rect 967 947 969 981
rect 969 947 1003 981
rect 1003 947 1019 981
rect 967 942 1019 947
rect 1400 1252 1452 1304
rect 1464 1252 1516 1304
rect 2028 1252 2080 1304
rect 2092 1252 2144 1304
rect 1287 1053 1339 1058
rect 1287 1019 1303 1053
rect 1303 1019 1337 1053
rect 1337 1019 1339 1053
rect 1287 1006 1339 1019
rect 1287 981 1339 994
rect 1287 947 1303 981
rect 1303 947 1337 981
rect 1337 947 1339 981
rect 1287 942 1339 947
rect 1915 1053 1967 1058
rect 1915 1019 1931 1053
rect 1931 1019 1965 1053
rect 1965 1019 1967 1053
rect 1915 1006 1967 1019
rect 1915 981 1967 994
rect 1915 947 1931 981
rect 1931 947 1965 981
rect 1965 947 1967 981
rect 1915 942 1967 947
rect 402 659 454 711
rect 402 595 454 647
rect 1030 659 1082 711
rect 1030 595 1082 647
rect 1224 659 1276 711
rect 1224 595 1276 647
rect 1852 659 1904 711
rect 1852 595 1904 647
rect 339 368 391 373
rect 339 334 341 368
rect 341 334 375 368
rect 375 334 391 368
rect 339 321 391 334
rect 339 296 391 309
rect 339 262 341 296
rect 341 262 375 296
rect 375 262 391 296
rect 339 257 391 262
rect 967 368 1019 373
rect 967 334 969 368
rect 969 334 1003 368
rect 1003 334 1019 368
rect 967 321 1019 334
rect 967 296 1019 309
rect 967 262 969 296
rect 969 262 1003 296
rect 1003 262 1019 296
rect 967 257 1019 262
rect 1287 368 1339 373
rect 1287 334 1303 368
rect 1303 334 1337 368
rect 1337 334 1339 368
rect 1287 321 1339 334
rect 1287 296 1339 309
rect 1287 262 1303 296
rect 1303 262 1337 296
rect 1337 262 1339 296
rect 1287 257 1339 262
rect 1915 368 1967 373
rect 1915 334 1931 368
rect 1931 334 1965 368
rect 1965 334 1967 368
rect 1915 321 1967 334
rect 1915 296 1967 309
rect 1915 262 1931 296
rect 1931 262 1965 296
rect 1965 262 1967 296
rect 1915 257 1967 262
rect 162 -24 214 28
rect 226 -24 278 28
rect 476 19 528 28
rect 540 19 592 28
rect 476 -15 488 19
rect 488 -15 526 19
rect 526 -15 528 19
rect 540 -15 560 19
rect 560 -15 592 19
rect 476 -24 528 -15
rect 540 -24 592 -15
rect 790 -24 842 28
rect 854 19 906 28
rect 854 -15 888 19
rect 888 -15 906 19
rect 854 -24 906 -15
rect 1400 -24 1452 28
rect 1464 19 1516 28
rect 1714 19 1766 28
rect 1464 -15 1488 19
rect 1488 -15 1516 19
rect 1714 -15 1726 19
rect 1726 -15 1760 19
rect 1760 -15 1766 19
rect 1464 -24 1516 -15
rect 1714 -24 1766 -15
rect 1778 -24 1830 28
rect 2028 -24 2080 28
rect 2092 -24 2144 28
<< metal2 >>
rect 160 1304 2146 1318
rect 160 1252 162 1304
rect 214 1252 226 1304
rect 278 1252 790 1304
rect 842 1252 854 1304
rect 906 1252 1400 1304
rect 1452 1252 1464 1304
rect 1516 1252 2028 1304
rect 2080 1252 2092 1304
rect 2144 1252 2146 1304
rect 160 1238 2146 1252
rect 325 1058 405 1060
rect 325 1006 339 1058
rect 391 1006 405 1058
rect 325 994 405 1006
rect 325 942 339 994
rect 391 942 405 994
rect 325 940 405 942
rect 953 1058 1033 1060
rect 953 1006 967 1058
rect 1019 1006 1033 1058
rect 953 994 1033 1006
rect 953 942 967 994
rect 1019 942 1033 994
rect 953 940 1033 942
rect 1273 1058 1353 1060
rect 1273 1006 1287 1058
rect 1339 1006 1353 1058
rect 1273 994 1353 1006
rect 1273 942 1287 994
rect 1339 942 1353 994
rect 1273 940 1353 942
rect 1901 1058 1981 1060
rect 1901 1006 1915 1058
rect 1967 1006 1981 1058
rect 1901 994 1981 1006
rect 1901 942 1915 994
rect 1967 942 1981 994
rect 1901 940 1981 942
rect 342 713 388 940
rect 970 713 1016 940
rect 1290 713 1336 940
rect 1918 713 1964 940
rect 342 711 468 713
rect 342 659 402 711
rect 454 659 468 711
rect 342 647 468 659
rect 342 595 402 647
rect 454 595 468 647
rect 342 593 468 595
rect 970 711 1096 713
rect 970 659 1030 711
rect 1082 659 1096 711
rect 970 647 1096 659
rect 970 595 1030 647
rect 1082 595 1096 647
rect 970 593 1096 595
rect 1210 711 1336 713
rect 1210 659 1224 711
rect 1276 659 1336 711
rect 1210 647 1336 659
rect 1210 595 1224 647
rect 1276 595 1336 647
rect 1210 593 1336 595
rect 1838 711 1964 713
rect 1838 659 1852 711
rect 1904 659 1964 711
rect 1838 647 1964 659
rect 1838 595 1852 647
rect 1904 595 1964 647
rect 1838 593 1964 595
rect 342 375 388 593
rect 970 375 1016 593
rect 1290 375 1336 593
rect 1918 375 1964 593
rect 325 373 405 375
rect 325 321 339 373
rect 391 321 405 373
rect 325 309 405 321
rect 325 257 339 309
rect 391 257 405 309
rect 325 255 405 257
rect 953 373 1033 375
rect 953 321 967 373
rect 1019 321 1033 373
rect 953 309 1033 321
rect 953 257 967 309
rect 1019 257 1033 309
rect 953 255 1033 257
rect 1273 373 1353 375
rect 1273 321 1287 373
rect 1339 321 1353 373
rect 1273 309 1353 321
rect 1273 257 1287 309
rect 1339 257 1353 309
rect 1273 255 1353 257
rect 1901 373 1981 375
rect 1901 321 1915 373
rect 1967 321 1981 373
rect 1901 309 1981 321
rect 1901 257 1915 309
rect 1967 257 1981 309
rect 1901 255 1981 257
rect 160 28 2146 42
rect 160 -24 162 28
rect 214 -24 226 28
rect 278 -24 476 28
rect 528 -24 540 28
rect 592 -24 790 28
rect 842 -24 854 28
rect 906 -24 1400 28
rect 1452 -24 1464 28
rect 1516 -24 1714 28
rect 1766 -24 1778 28
rect 1830 -24 2028 28
rect 2080 -24 2092 28
rect 2144 -24 2146 28
rect 160 -38 2146 -24
<< labels >>
flabel metal2 s 160 1238 203 1318 2 FreeSans 44 0 0 0 vdd
port 2 nsew
flabel metal2 s 160 -38 203 42 2 FreeSans 44 0 0 0 vss
port 3 nsew
flabel metal1 s 1104 447 1178 493 1 FreeSans 44 0 0 0 Qn
port 5 nsew
flabel metal1 s 53 623 83 683 1 FreeSans 44 0 0 0 S
port 6 nsew
flabel metal1 s 2223 623 2253 683 1 FreeSans 44 0 0 0 R
port 7 nsew
flabel metal1 s 1123 1318 1183 1348 1 FreeSans 44 0 0 0 Q
port 8 nsew
<< end >>
